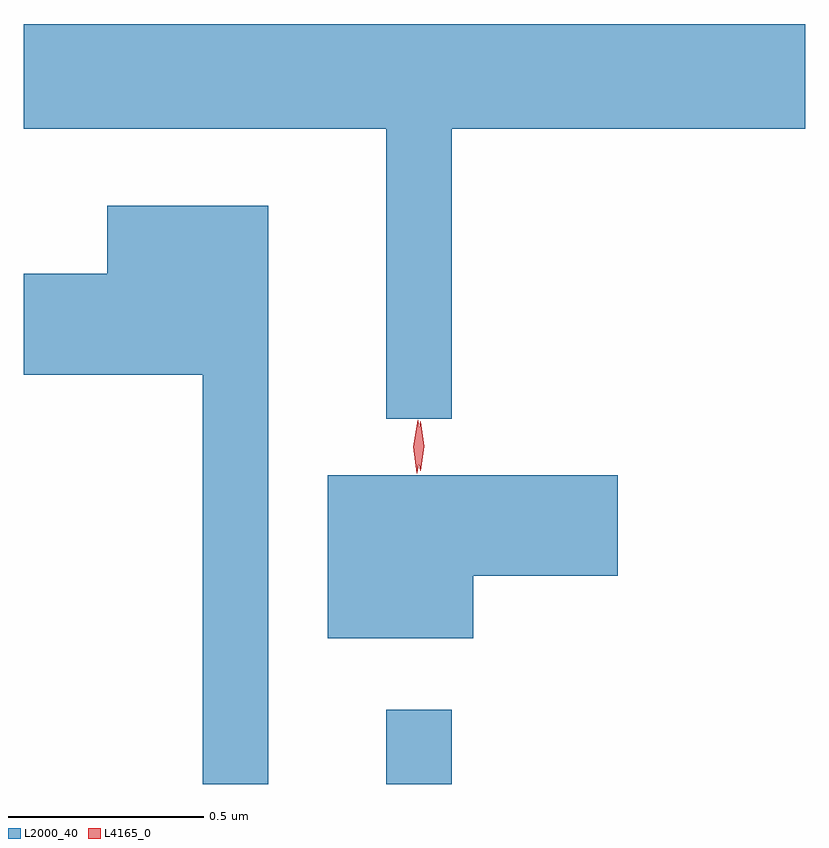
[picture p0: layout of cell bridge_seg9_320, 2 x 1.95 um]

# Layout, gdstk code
import gdstk
lib = gdstk.Library(unit=1e-6, precision=1e-09)
def R(c, l, rs):  # rectangles x0, y0, x1, y1
    for r in rs: c.add(gdstk.rectangle(r[:2], r[2:], *l))
def P(c, l, *ps):  # polygons
    for p in ps: c.add(gdstk.Polygon(p, *l))
L2000_40 = (2000, 40)
L4165_0 = (4165, 0)

bridge_seg9_320 = lib.new_cell('bridge_seg9_320')
R(bridge_seg9_320, L2000_40, [(1002.261,2018.998,1002.429,2019.188)])
P(bridge_seg9_320, L2000_40, [(1002.429,2020.676),(1003.333,2020.676),(1003.333,2020.944),(1001.333,2020.944),(1001.333,2020.676),(1002.261,2020.676),(1002.261,2019.933),(1002.429,2019.933)],
  [(1001.959,2020.479),(1001.546,2020.479),(1001.546,2020.304),(1001.333,2020.304),(1001.333,2020.046),(1001.791,2020.046),(1001.791,2018.998),(1001.959,2018.998)],
  [(1002.484,2019.531),(1002.854,2019.531),(1002.854,2019.789),(1002.111,2019.789),(1002.111,2019.371),(1002.484,2019.371)])
P(bridge_seg9_320, L4165_0, [(1002.339,2019.794),(1002.339,2019.794),(1002.33,2019.862),(1002.341,2019.93),(1002.341,2019.93),(1002.342,2019.93),(1002.35,2019.862),(1002.34,2019.794)],
  [(1002.348,2019.8),(1002.348,2019.8),(1002.338,2019.863),(1002.348,2019.926),(1002.348,2019.927),(1002.349,2019.926),(1002.358,2019.863),(1002.349,2019.8)])

lib.write_gds('bridge_seg9_320.gds')
